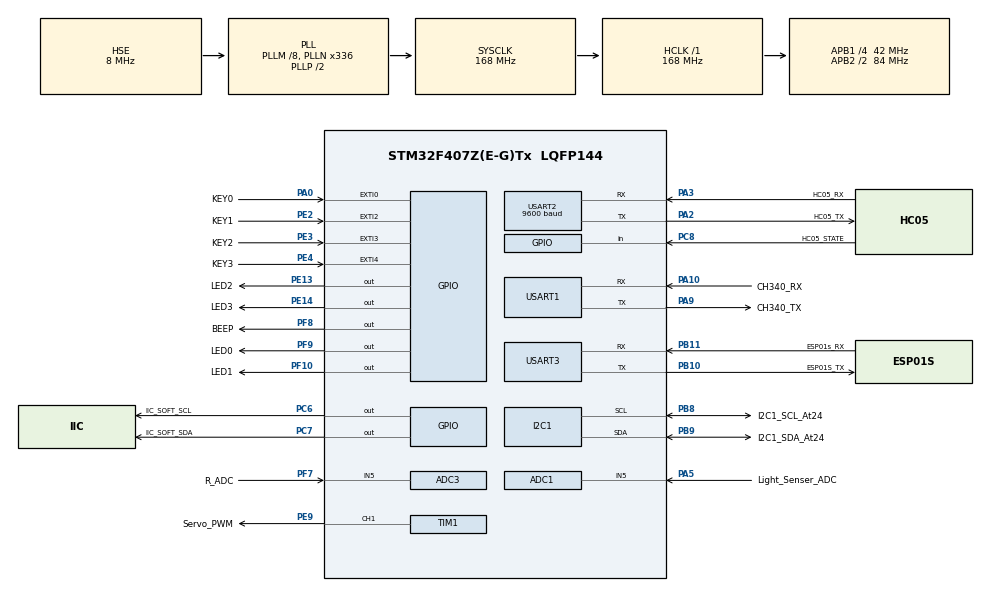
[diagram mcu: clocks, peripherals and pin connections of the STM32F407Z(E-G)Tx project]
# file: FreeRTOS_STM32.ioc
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ADC1.Channel-0\#ChannelRegularConversion=ADC_CHANNEL_5
ADC1.ClockPrescaler=ADC_CLOCK_SYNC_PCLK_DIV6
ADC1.ContinuousConvMode=ENABLE
ADC1.NbrOfConversionFlag=1
ADC1.Rank-0\#ChannelRegularConversion=1
ADC1.SamplingTime-0\#ChannelRegularConversion=ADC_SAMPLETIME_3CYCLES
ADC1.master=1
ADC3.Channel-0\#ChannelRegularConversion=ADC_CHANNEL_5
ADC3.ClockPrescaler=ADC_CLOCK_SYNC_PCLK_DIV6
ADC3.ContinuousConvMode=ENABLE
ADC3.NbrOfConversionFlag=1
ADC3.Rank-0\#ChannelRegularConversion=1
ADC3.SamplingTime-0\#ChannelRegularConversion=ADC_SAMPLETIME_3CYCLES
FREERTOS.Events01=KeyEventFlags,Dynamic,NULL;NetEventFlags,Dynamic,NULL
FREERTOS.Mutexes01=StateMutex,Dynamic,NULL,Available;DebugMutex,Dynamic,NULL,Available
FREERTOS.Queues01=CloudRxQueue,4,128,1,Dynamic,NULL,NULL;CloudTxQueue,2,128,1,Dynamic,NULL,NULL;BtRxQueue,2,128,1,Dynamic,NULL,NULL;BtTxQueue,4,64,1,Dynamic,NULL,NULL;WifiCfgQueue,1,64,1,Dynamic,NULL,NULL
FREERTOS.Tasks01=defaultTask,24,128,StartDefaultTask,Default,NULL,Dynamic,NULL,NULL;NetWorkTask,24,512,NetWorkTask_Function,Default,NULL,Dynamic,NULL,NULL;HeartBeatTask,24,128,HeartBeatTask_Function,Default,NULL,Dynamic,NULL,NULL;BluetoothTask,24,128,BluetoothTask_Function,Default,NULL,Dynamic,NULL,NULL;UITask,24,128,UITask_Function,Default,NULL,Dynamic,NULL,NULL;KeyHandleTask,24,128,KeyHandleTask_Function,Default,NULL,Dynamic,NULL,NULL;ADCHandleTask,24,256,ADCHandleTask_Function,Default,NULL,Dynamic,NULL,NULL;ServoHandleTask,24,128,ServoHandleTask_Function,Default,NULL,Dynamic,NULL,NULL;HandleBtMsgTask,24,128,HandleBtMsgTask_Function,Default,NULL,Dynamic,NULL,NULL;HandleCloudMsgT,24,128,HandleCloudMsgTask_Function,Default,NULL,Dynamic,NULL,NULL
FREERTOS.configTOTAL_HEAP_SIZE=24576
Mcu.Family=STM32F4
Mcu.Name=STM32F407Z(E-G)Tx
Mcu.Package=LQFP144
NVIC.ADC_IRQn=true\:5\:0\:false\:false\:true\:true\:true\:true\:true
NVIC.EXTI0_IRQn=true\:5\:0\:false\:false\:true\:true\:true\:true\:true
NVIC.EXTI2_IRQn=true\:5\:0\:false\:false\:true\:true\:true\:true\:true
NVIC.EXTI3_IRQn=true\:5\:0\:false\:false\:true\:true\:true\:true\:true
NVIC.EXTI4_IRQn=true\:5\:0\:false\:false\:true\:true\:true\:true\:true
NVIC.I2C1_ER_IRQn=true\:5\:0\:false\:false\:true\:true\:true\:true\:true
NVIC.I2C1_EV_IRQn=true\:5\:0\:false\:false\:true\:true\:true\:true\:true
NVIC.PriorityGroup=NVIC_PRIORITYGROUP_4
NVIC.TIM2_IRQn=true\:5\:0\:false\:false\:true\:true\:true\:true\:true
NVIC.TIM6_DAC_IRQn=true\:5\:0\:false\:false\:true\:true\:true\:true\:true
NVIC.TIM7_IRQn=true\:5\:0\:false\:false\:true\:true\:true\:true\:true
NVIC.USART1_IRQn=true\:5\:0\:false\:false\:true\:true\:true\:true\:true
NVIC.USART2_IRQn=true\:5\:0\:false\:false\:true\:true\:true\:true\:true
NVIC.USART3_IRQn=true\:5\:0\:false\:false\:true\:true\:true\:true\:true
PA0-WKUP.GPIO_Label=KEY0
PA0-WKUP.GPIO_ModeDefaultEXTI=GPIO_MODE_IT_FALLING
PA0-WKUP.GPIO_PuPd=GPIO_PULLUP
PA0-WKUP.Signal=GPXTI0
PA10.GPIO_Label=CH340_RX
PA10.Mode=Asynchronous
PA10.Signal=USART1_RX
PA2.GPIO_Label=HC05_TX
PA2.Mode=Asynchronous
PA2.Signal=USART2_TX
PA3.GPIO_Label=HC05_RX
PA3.Mode=Asynchronous
PA3.Signal=USART2_RX
PA5.GPIO_Label=Light_Senser_ADC
PA5.Signal=ADCx_IN5
PA9.GPIO_Label=CH340_TX
PA9.Mode=Asynchronous
PA9.Signal=USART1_TX
PB10.GPIO_Label=ESP01S_TX
PB10.Mode=Asynchronous
PB10.Signal=USART3_TX
PB11.GPIO_Label=ESP01s_RX
PB11.Mode=Asynchronous
PB11.Signal=USART3_RX
PB8.GPIO_Label=I2C1_SCL_At24
PB8.Mode=I2C
PB8.Signal=I2C1_SCL
PB9.GPIO_Label=I2C1_SDA_At24
PB9.Mode=I2C
PB9.Signal=I2C1_SDA
PC6.GPIO_Label=IIC_SOFT_SCL
PC6.GPIO_ModeDefaultOutputPP=GPIO_MODE_OUTPUT_OD
PC6.GPIO_PuPd=GPIO_PULLUP
PC6.GPIO_Speed=GPIO_SPEED_FREQ_HIGH
PC6.PinState=GPIO_PIN_SET
PC6.Signal=GPIO_Output
PC7.GPIO_Label=IIC_SOFT_SDA
PC7.GPIO_ModeDefaultOutputPP=GPIO_MODE_OUTPUT_OD
PC7.GPIO_PuPd=GPIO_PULLUP
PC7.GPIO_Speed=GPIO_SPEED_FREQ_HIGH
PC7.PinState=GPIO_PIN_SET
PC7.Signal=GPIO_Output
PC8.GPIO_Label=HC05_STATE
PC8.Signal=GPIO_Input
PE13.GPIO_Label=LED2
PE13.GPIO_PuPd=GPIO_PULLUP
PE13.GPIO_Speed=GPIO_SPEED_FREQ_HIGH
PE13.PinState=GPIO_PIN_SET
PE13.Signal=GPIO_Output
PE14.GPIO_Label=LED3
PE14.GPIO_PuPd=GPIO_PULLUP
PE14.GPIO_Speed=GPIO_SPEED_FREQ_HIGH
PE14.PinState=GPIO_PIN_SET
PE14.Signal=GPIO_Output
PE2.GPIO_Label=KEY1
PE2.GPIO_ModeDefaultEXTI=GPIO_MODE_IT_FALLING
PE2.GPIO_PuPd=GPIO_PULLUP
PE2.Signal=GPXTI2
PE3.GPIO_Label=KEY2
PE3.GPIO_ModeDefaultEXTI=GPIO_MODE_IT_FALLING
PE3.GPIO_PuPd=GPIO_PULLUP
PE3.Signal=GPXTI3
PE4.GPIO_Label=KEY3
PE4.GPIO_ModeDefaultEXTI=GPIO_MODE_IT_FALLING
PE4.GPIO_PuPd=GPIO_PULLUP
PE4.Signal=GPXTI4
PE9.GPIO_Label=Servo_PWM
PE9.Signal=S_TIM1_CH1
PF10.GPIO_Label=LED1
PF10.GPIO_PuPd=GPIO_PULLUP
PF10.GPIO_Speed=GPIO_SPEED_FREQ_HIGH
PF10.PinState=GPIO_PIN_SET
PF10.Signal=GPIO_Output
PF7.GPIO_Label=R_ADC
PF7.Mode=IN5
PF7.Signal=ADC3_IN5
PF8.GPIO_Label=BEEP
PF8.GPIO_PuPd=GPIO_NOPULL
PF8.GPIO_Speed=GPIO_SPEED_FREQ_HIGH
PF8.PinState=GPIO_PIN_RESET
PF8.Signal=GPIO_Output
PF9.GPIO_Label=LED0
PF9.GPIO_PuPd=GPIO_PULLUP
PF9.GPIO_Speed=GPIO_SPEED_FREQ_HIGH
PF9.PinState=GPIO_PIN_SET
PF9.Signal=GPIO_Output
PH0-OSC_IN.Mode=HSE-External-Oscillator
PH0-OSC_IN.Signal=RCC_OSC_IN
PH1-OSC_OUT.Mode=HSE-External-Oscillator
PH1-OSC_OUT.Signal=RCC_OSC_OUT
ProjectManager.HeapSize=0x200
ProjectManager.StackSize=0x400
ProjectManager.TargetToolchain=MDK-ARM V5
RCC.48MHZClocksFreq_Value=84000000
RCC.AHBFreq_Value=168000000
RCC.APB1CLKDivider=RCC_HCLK_DIV4
RCC.APB1Freq_Value=42000000
RCC.APB1TimFreq_Value=84000000
RCC.APB2CLKDivider=RCC_HCLK_DIV2
RCC.APB2Freq_Value=84000000
RCC.APB2TimFreq_Value=168000000
RCC.CortexFreq_Value=168000000
RCC.HCLKFreq_Value=168000000
RCC.HSE_VALUE=8000000
RCC.HSI_VALUE=16000000
RCC.LSE_VALUE=32768
RCC.PLLM=8
RCC.PLLN=336
RCC.PLLSourceVirtual=RCC_PLLSOURCE_HSE
RCC.SYSCLKFreq_VALUE=168000000
RCC.SYSCLKSource=RCC_SYSCLKSOURCE_PLLCLK
RCC.VCOOutputFreq_Value=336000000
SH.ADCx_IN5.0=ADC1_IN5,IN5
SH.S_TIM1_CH1.0=TIM1_CH1,PWM Generation1 CH1
TIM1.Channel-PWM\ Generation1\ CH1=TIM_CHANNEL_1
TIM1.Period=19999
TIM1.Prescaler=167
TIM2.Period=299999
TIM2.Prescaler=8399
TIM6.Period=4999
TIM6.Prescaler=8399
TIM7.Period=49
TIM7.Prescaler=8399
USART1.VirtualMode=VM_ASYNC
USART2.BaudRate=9600
USART2.VirtualMode=VM_ASYNC
USART3.VirtualMode=VM_ASYNC
VP_FREERTOS_VS_CMSIS_V2.Mode=CMSIS_V2
VP_TIM1_VS_ClockSourceINT.Mode=Internal
VP_TIM2_VS_ClockSourceINT.Mode=Internal
VP_TIM6_VS_ClockSourceINT.Mode=Enable_Timer
VP_TIM7_VS_ClockSourceINT.Mode=Enable_Timer
board=custom

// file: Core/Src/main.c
/* USER CODE BEGIN Header */
/**
 ******************************************************************************
 * @file           : main.c
 * @brief          : Main program body
 ******************************************************************************
 * @attention
 *
 * Copyright (c) 2026 STMicroelectronics.
 * All rights reserved.
 *
 * This software is licensed under terms that can be found in the LICENSE file
 * in the root directory of this software component.
 * If no LICENSE file comes with this software, it is provided AS-IS.
 *
 ******************************************************************************
 */
/* USER CODE END Header */
#include "main.h"
#include "cmsis_os.h"

/* USER CODE BEGIN Includes */
/* ==========================自定义用户头文件================================= */
#include "LED.h"
#include "BEEP.h"
#include "KEY.h"
#include "SERVO.h"
#include "ADC_Read.h"
#include "HC05.h"
#include "ESP01S.h"
#include "BEMFA.h"
#include "CloudCmd.h"
#include "BtConfig.h"
#include "at24c02.h"
#include "WifiStorage.h"
#include "Oled.h"
#include "bmp.h"
#include "oledfonts.h"
#include "stm32f4xx_it.h"
#include "UI_Preview.h"
#include "UI_Terminal.h"

/* ==========================系统头文件======================================= */
#include <stdio.h>
#include <string.h>
#include <stdlib.h>
/* USER CODE END Includes */

/* USER CODE BEGIN PTD */
/**
 * @brief Wi-Fi 配置队列项
 * @note  CubeMX 中 WifiCfgQueue 的单个消息大小配置为 64 字节。
 *        BtConfig_Data 本身不足 64 字节，这里补齐到 64 字节，
 *        方便队列按固定长度复制。
 */
typedef struct
{
  BtConfig_Data data;
  uint8_t reserved[6];
} WifiCfgQueueItem;
/* USER CODE END PTD */

/* USER CODE BEGIN PD */
/* ADC 数值变化超过该阈值才打印，避免串口被刷屏。 */
#define ADC_PRINT_CHANGE_THRESHOLD 100U

/* 网络事件标志位：HeartBeatTask 每 30 秒置位一次。 */
#define NET_EVT_HEARTBEAT (1U << 0)

/* 按键事件标志位：由 EXTI 中断置位，KeyHandleTask 处理。 */
#define KEY_EVT_KEY0 (1U << 0)
#define KEY_EVT_KEY1 (1U << 1)
#define KEY_EVT_KEY2 (1U << 2)
#define KEY_EVT_KEY3 (1U << 3)

/* USER CODE END PD */

ADC_HandleTypeDef hadc1;
ADC_HandleTypeDef hadc3;

I2C_HandleTypeDef hi2c1;

TIM_HandleTypeDef htim1;
TIM_HandleTypeDef htim2;
TIM_HandleTypeDef htim6;
TIM_HandleTypeDef htim7;

UART_HandleTypeDef huart1;
UART_HandleTypeDef huart2;
UART_HandleTypeDef huart3;

/* Definitions for defaultTask */
osThreadId_t defaultTaskHandle;
const osThreadAttr_t defaultTask_attributes = {
    .name = "defaultTask",
    .stack_size = 128 * 4,
    .priority = (osPriority_t)osPriorityNormal,
};
/* Definitions for NetWorkTask */
osThreadId_t NetWorkTaskHandle;
const osThreadAttr_t NetWorkTask_attributes = {
    .name = "NetWorkTask",
    .stack_size = 512 * 4,
    .priority = (osPriority_t)osPriorityNormal,
};
/* Definitions for HeartBeatTask */
osThreadId_t HeartBeatTaskHandle;
const osThreadAttr_t HeartBeatTask_attributes = {
    .name = "HeartBeatTask",
    .stack_size = 128 * 4,
    .priority = (osPriority_t)osPriorityNormal,
};
/* Definitions for BluetoothTask */
osThreadId_t BluetoothTaskHandle;
const osThreadAttr_t BluetoothTask_attributes = {
    .name = "BluetoothTask",
    .stack_size = 128 * 4,
    .priority = (osPriority_t)osPriorityNormal,
};
/* Definitions for UITask */
osThreadId_t UITaskHandle;
const osThreadAttr_t UITask_attributes = {
    .name = "UITask",
    .stack_size = 128 * 4,
    .priority = (osPriority_t)osPriorityNormal,
};
/* Definitions for KeyHandleTask */
osThreadId_t KeyHandleTaskHandle;
const osThreadAttr_t KeyHandleTask_attributes = {
    .name = "KeyHandleTask",
    .stack_size = 128 * 4,
    .priority = (osPriority_t)osPriorityNormal,
};
/* Definitions for ADCHandleTask */
osThreadId_t ADCHandleTaskHandle;
const osThreadAttr_t ADCHandleTask_attributes = {
    .name = "ADCHandleTask",
    .stack_size = 256 * 4,
    .priority = (osPriority_t)osPriorityNormal,
};
/* Definitions for ServoHandleTask */
osThreadId_t ServoHandleTaskHandle;
const osThreadAttr_t ServoHandleTask_attributes = {
    .name = "ServoHandleTask",
    .stack_size = 128 * 4,
    .priority = (osPriority_t)osPriorityNormal,
};
/* Definitions for HandleBtMsgTask */
osThreadId_t HandleBtMsgTaskHandle;
const osThreadAttr_t HandleBtMsgTask_attributes = {
    .name = "HandleBtMsgTask",
    .stack_size = 128 * 4,
    .priority = (osPriority_t)osPriorityNormal,
};
/* Definitions for HandleCloudMsgT */
osThreadId_t HandleCloudMsgTHandle;
const osThreadAttr_t HandleCloudMsgT_attributes = {
    .name = "HandleCloudMsgT",
    .stack_size = 128 * 4,
    .priority = (osPriority_t)osPriorityNormal,
};
/* Definitions for CloudRxQueue */
osMessageQueueId_t CloudRxQueueHandle;
const osMessageQueueAttr_t CloudRxQueue_attributes = {
    .name = "CloudRxQueue"};
/* Definitions for CloudTxQueue */
osMessageQueueId_t CloudTxQueueHandle;
const osMessageQueueAttr_t CloudTxQueue_attributes = {
    .name = "CloudTxQueue"};
/* Definitions for BtRxQueue */
osMessageQueueId_t BtRxQueueHandle;
const osMessageQueueAttr_t BtRxQueue_attributes = {
    .name = "BtRxQueue"};
/* Definitions for BtTxQueue */
osMessageQueueId_t BtTxQueueHandle;
const osMessageQueueAttr_t BtTxQueue_attributes = {
    .name = "BtTxQueue"};
/* Definitions for WifiCfgQueue */
osMessageQueueId_t WifiCfgQueueHandle;
const osMessageQueueAttr_t WifiCfgQueue_attributes = {
    .name = "WifiCfgQueue"};
/* Definitions for StateMutex */
osMutexId_t StateMutexHandle;
const osMutexAttr_t StateMutex_attributes = {
    .name = "StateMutex"};
/* Definitions for DebugMutex */
osMutexId_t DebugMutexHandle;
const osMutexAttr_t DebugMutex_attributes = {
    .name = "DebugMutex"};
/* Definitions for KeyEventFlags */
osEventFlagsId_t KeyEventFlagsHandle;
const osEventFlagsAttr_t KeyEventFlags_attributes = {
    .name = "KeyEventFlags"};
/* Definitions for NetEventFlags */
osEventFlagsId_t NetEventFlagsHandle;
const osEventFlagsAttr_t NetEventFlags_attributes = {
    .name = "NetEventFlags"};
/* USER CODE BEGIN PV */
uint8_t cloud_armed = 0;                      // 布防状态标志：1=已布防，0=已撤防
uint8_t local_alarm = 0;                      // 本地报警状态：1=报警中，0=无报警
uint8_t alarm_muted = 0;                      // 报警消音标志：1=已消音，0=未消音
uint8_t led1_on = 0;                          // LED1开关状态：1=开，0=关
uint8_t beep_on = 0;                          // 蜂鸣器开关状态：1=开，0=关
uint16_t light_value = 0;                     // 光敏传感器ADC读数（值越大光线越暗）
uint16_t reference_value = 0;                 // 阈值电位器ADC读数（与光敏值比较触发报警）
uint16_t last_print_light_value = 0;          // 上一次打印的光敏值
uint16_t last_print_reference_value = 0;      // 上一次打印的阈值值
uint8_t adc_print_first_time = 1;             // 1表示还没有打印过ADC值
uint8_t adc_value_changed = 0;                // 1表示本次ADC值需要打印
BtConfig_Data wifi_config;                    // 用于存储 Wi-Fi 配置
char ack_message[BEMFA_MESSAGE_MAX_LENGTH];   // 用于拼装云端控制回执
uint8_t wifi_config_pending = 0;              // 1表示正在等待 ESP-01S 配置 Wi-Fi
uint8_t wifi_result;                          // 用于存储 ESP-01S 配置结果
uint8_t ui_terminal_mode = 0;                 // OLED 界面模式：0=前台表情，1=后台终端

/* USER CODE END PV */

void SystemClock_Config(void);
static void MX_GPIO_Init(void);
static void MX_ADC1_Init(void);
static void MX_ADC3_Init(void);
static void MX_TIM1_Init(void);
static void MX_USART1_UART_Init(void);
static void MX_USART2_UART_Init(void);
static void MX_USART3_UART_Init(void);
static void MX_I2C1_Init(void);
static void MX_TIM2_Init(void);
static void MX_TIM6_Init(void);
static void MX_TIM7_Init(void);
void StartDefaultTask(void *argument);
void NetWorkTask_Function(void *argument);
void HeartBeatTask_Function(void *argument);
void BluetoothTask_Function(void *argument);
void UITask_Function(void *argument);
void KeyHandleTask_Function(void *argument);
void ADCHandleTask_Function(void *argument);
void ServoHandleTask_Function(void *argument);
void HandleBtMsgTask_Function(void *argument);
void HandleCloudMsgTask_Function(void *argument);

/* USER CODE BEGIN 0 */
int fputc(int ch, FILE *f)
{
  uint8_t mutex_locked = 0;

  (void)f;

  /*
   * 系统启动阶段 FreeRTOS 还没有运行，
   * 此时不能使用互斥量。
   */
  if ((DebugMutexHandle != NULL) &&
      (osKernelGetState() == osKernelRunning))
  {
    if (osMutexAcquire(DebugMutexHandle, osWaitForever) == osOK)
    {
      mutex_locked = 1;
    }
  }

  /* 串口1作为调试输出口，多个任务打印时使用 DebugMutex 串行化。 */
  HAL_UART_Transmit(&huart1, (uint8_t *)&ch, 1, HAL_MAX_DELAY);

  /* 同步到 OLED 后台终端缓存；真正绘制由 UITask 完成。 */
  UI_Terminal_PutChar((char)ch);

  if (mutex_locked)
  {
    osMutexRelease(DebugMutexHandle);
  }

  return ch;
}
/*
 * 云端控制回执：只把回执放入 CloudTxQueue。
 * 真正的巴法云发送统一由 NetWorkTask 完成，避免多个任务同时操作 BEMFA。
 */
static void CloudAck(const char *msg)
{
  char tx_msg[BEMFA_MESSAGE_MAX_LENGTH];

  if (msg == NULL)
  {
    return;
  }

  snprintf(tx_msg, sizeof(tx_msg), "%s", msg);

  if (osMessageQueuePut(CloudTxQueueHandle, tx_msg, 0, 0) == osOK)
  {
    printf("回执已进入发送队列: %s\r\n", tx_msg);
  }
  else
  {
    printf("回执队列已满，丢弃: %s\r\n", tx_msg);
  }
}

/*
 * 蓝牙回复统一进入 BtTxQueue。
 * 真正发送由 BluetoothTask 完成，避免多个任务同时操作 HC-05。
 */
static void BtReply(const char *msg)
{
  char tx_msg[64];

  if (msg == NULL)
  {
    return;
  }

  snprintf(tx_msg, sizeof(tx_msg), "%s", msg);

  if (osMessageQueuePut(BtTxQueueHandle, tx_msg, 0, 0) != osOK)
  {
    printf("蓝牙发送队列已满，丢弃: %s\r\n", tx_msg);
  }
}

/* USER CODE END 0 */

int main(void)
{

  /* MCU Configuration--------------------------------------------------------*/

  /* Reset of all peripherals, Initializes the Flash interface and the Systick. */
  HAL_Init();

  /* Configure the system clock */
  SystemClock_Config();

  /* Initialize all configured peripherals */
  MX_GPIO_Init();
  MX_ADC1_Init();
  MX_ADC3_Init();
  MX_TIM1_Init();
  MX_USART1_UART_Init();
  MX_USART2_UART_Init();
  MX_USART3_UART_Init();
  MX_I2C1_Init();
  MX_TIM2_Init();
  MX_TIM6_Init();
  MX_TIM7_Init();
  /* USER CODE BEGIN 2 */
  /* ===========================================用户初始化============================================= */
  IIC_OLED_Init();

  /* 界面默认进入前台表情模式，KEY3 可切换到后台终端 */
  ui_terminal_mode = 0;
  UI_Preview_Init();
  /* 关闭蜂鸣器，熄灭所有 LED */
  BEEP_Off();

  LED_Off(LED_ID_0);
  LED_Off(LED_ID_1);
  LED_Off(LED_ID_2);
  LED_Off(LED_ID_3);

  /* 启动舵机 PWM，初始为撤防模式（0 度） */
  SERVO_Start();
  SERVO_SetMode(SERVO_MODE_DISARM);

  printf("Basic driver test start\r\n");
  HC05_StartReceive();   // 启动 HC-05 串口接收
  ESP01S_StartReceive(); // 启动 ESP-01S 串口接收
  // HAL_TIM_Base_Start_IT(&htim2); // 启动30秒定时器中断
  // HAL_TIM_Base_Start_IT(&htim6); // 启动0.5秒定时器中断
  // HAL_TIM_Base_Start_IT(&htim7); // 启动5毫秒定时器中断（系统节拍）

  /* 上电时先尝试读取上一次保存的 Wi-Fi 配置。 */
  if (at24c02_init() == 0)
  {
    if (WifiStorage_Load(&wifi_config))
    {
      printf("读取到已保存的 Wi-Fi 配置：%s\r\n", wifi_config.ssid);
      ESP01S_RequestWiFi(wifi_config.ssid, wifi_config.password);
    }
    else
    {
      printf("AT24C02 中没有有效的 Wi-Fi 配置\r\n");
    }
  }
  else
  {
    printf("AT24C02 未检测到，等待蓝牙配网\r\n");
  }

  /* USER CODE END 2 */

  /* Init scheduler */
  osKernelInitialize();
  /* Create the mutex(es) */
  /* creation of StateMutex */
  StateMutexHandle = osMutexNew(&StateMutex_attributes);

  /* creation of DebugMutex */
  DebugMutexHandle = osMutexNew(&DebugMutex_attributes);

  /* Create the queue(s) */
  /* creation of CloudRxQueue */
  CloudRxQueueHandle = osMessageQueueNew(4, 128, &CloudRxQueue_attributes);

  /* creation of CloudTxQueue */
  CloudTxQueueHandle = osMessageQueueNew(2, 128, &CloudTxQueue_attributes);

  /* creation of BtRxQueue */
  BtRxQueueHandle = osMessageQueueNew(2, 128, &BtRxQueue_attributes);

  /* creation of BtTxQueue */
  BtTxQueueHandle = osMessageQueueNew(4, 64, &BtTxQueue_attributes);

  /* creation of WifiCfgQueue */
  WifiCfgQueueHandle = osMessageQueueNew(1, 64, &WifiCfgQueue_attributes);

  /* Create the thread(s) */
  /* creation of defaultTask */
  /* defaultTask 当前没有业务，保留函数模板但不再创建任务。 */
  // defaultTaskHandle = osThreadNew(StartDefaultTask, NULL, &defaultTask_attributes);

  /* creation of NetWorkTask */
  NetWorkTaskHandle = osThreadNew(NetWorkTask_Function, NULL, &NetWorkTask_attributes);

  /* creation of HeartBeatTask */
  HeartBeatTaskHandle = osThreadNew(HeartBeatTask_Function, NULL, &HeartBeatTask_attributes);

  /* creation of BluetoothTask */
  BluetoothTaskHandle = osThreadNew(BluetoothTask_Function, NULL, &BluetoothTask_attributes);

  /* creation of UITask */
  UITaskHandle = osThreadNew(UITask_Function, NULL, &UITask_attributes);

  /* creation of KeyHandleTask */
  KeyHandleTaskHandle = osThreadNew(KeyHandleTask_Function, NULL, &KeyHandleTask_attributes);

  /* creation of ADCHandleTask */
  ADCHandleTaskHandle = osThreadNew(ADCHandleTask_Function, NULL, &ADCHandleTask_attributes);

  /* creation of ServoHandleTask */
  ServoHandleTaskHandle = osThreadNew(ServoHandleTask_Function, NULL, &ServoHandleTask_attributes);

  /* creation of HandleBtMsgTask */
  HandleBtMsgTaskHandle = osThreadNew(HandleBtMsgTask_Function, NULL, &HandleBtMsgTask_attributes);

  /* creation of HandleCloudMsgT */
  HandleCloudMsgTHandle = osThreadNew(HandleCloudMsgTask_Function, NULL, &HandleCloudMsgT_attributes);

  /* creation of KeyEventFlags */
  KeyEventFlagsHandle = osEventFlagsNew(&KeyEventFlags_attributes);

  /* creation of NetEventFlags */
  NetEventFlagsHandle = osEventFlagsNew(&NetEventFlags_attributes);

  /* Start scheduler */
  osKernelStart();

  /* We should never get here as control is now taken by the scheduler */

  /* Infinite loop */
  /* USER CODE BEGIN WHILE */

  /*   while (1)
    {
    } */
  /* USER CODE END 3 */
}
void SystemClock_Config(void)
{
  RCC_OscInitTypeDef RCC_OscInitStruct = {0};
  RCC_ClkInitTypeDef RCC_ClkInitStruct = {0};

  /** Configure the main internal regulator output voltage
   */
  __HAL_RCC_PWR_CLK_ENABLE();
  __HAL_PWR_VOLTAGESCALING_CONFIG(PWR_REGULATOR_VOLTAGE_SCALE1);

  /** Initializes the RCC Oscillators according to the specified parameters
   * in the RCC_OscInitTypeDef structure.
   */
  RCC_OscInitStruct.OscillatorType = RCC_OSCILLATORTYPE_HSE;
  RCC_OscInitStruct.HSEState = RCC_HSE_ON;
  RCC_OscInitStruct.PLL.PLLState = RCC_PLL_ON;
  RCC_OscInitStruct.PLL.PLLSource = RCC_PLLSOURCE_HSE;
  RCC_OscInitStruct.PLL.PLLM = 8;
  RCC_OscInitStruct.PLL.PLLN = 336;
  RCC_OscInitStruct.PLL.PLLP = RCC_PLLP_DIV2;
  RCC_OscInitStruct.PLL.PLLQ = 4;
  if (HAL_RCC_OscConfig(&RCC_OscInitStruct) != HAL_OK)
  {
    Error_Handler();
  }

  /** Initializes the CPU, AHB and APB buses clocks
   */
  RCC_ClkInitStruct.ClockType = RCC_CLOCKTYPE_HCLK | RCC_CLOCKTYPE_SYSCLK | RCC_CLOCKTYPE_PCLK1 | RCC_CLOCKTYPE_PCLK2;
  RCC_ClkInitStruct.SYSCLKSource = RCC_SYSCLKSOURCE_PLLCLK;
  RCC_ClkInitStruct.AHBCLKDivider = RCC_SYSCLK_DIV1;
  RCC_ClkInitStruct.APB1CLKDivider = RCC_HCLK_DIV4;
  RCC_ClkInitStruct.APB2CLKDivider = RCC_HCLK_DIV2;

  if (HAL_RCC_ClockConfig(&RCC_ClkInitStruct, FLASH_LATENCY_5) != HAL_OK)
  {
    Error_Handler();
  }
}

static void MX_ADC1_Init(void)
{

  ADC_ChannelConfTypeDef sConfig = {0};

  /** Configure the global features of the ADC (Clock, Resolution, Data Alignment and number of conversion)
   */
  hadc1.Instance = ADC1;
  hadc1.Init.ClockPrescaler = ADC_CLOCK_SYNC_PCLK_DIV6;
  hadc1.Init.Resolution = ADC_RESOLUTION_12B;
  hadc1.Init.ScanConvMode = DISABLE;
  hadc1.Init.ContinuousConvMode = ENABLE;
  hadc1.Init.DiscontinuousConvMode = DISABLE;
  hadc1.Init.ExternalTrigConvEdge = ADC_EXTERNALTRIGCONVEDGE_NONE;
  hadc1.Init.ExternalTrigConv = ADC_SOFTWARE_START;
  hadc1.Init.DataAlign = ADC_DATAALIGN_RIGHT;
  hadc1.Init.NbrOfConversion = 1;
  hadc1.Init.DMAContinuousRequests = DISABLE;
  hadc1.Init.EOCSelection = ADC_EOC_SINGLE_CONV;
  if (HAL_ADC_Init(&hadc1) != HAL_OK)
  {
    Error_Handler();
  }

  /** Configure for the selected ADC regular channel its corresponding rank in the sequencer and its sample time.
   */
  sConfig.Channel = ADC_CHANNEL_5;
  sConfig.Rank = 1;
  sConfig.SamplingTime = ADC_SAMPLETIME_3CYCLES;
  if (HAL_ADC_ConfigChannel(&hadc1, &sConfig) != HAL_OK)
  {
    Error_Handler();
  }
}

static void MX_ADC3_Init(void)
{

  ADC_ChannelConfTypeDef sConfig = {0};

  /** Configure the global features of the ADC (Clock, Resolution, Data Alignment and number of conversion)
   */
  hadc3.Instance = ADC3;
  hadc3.Init.ClockPrescaler = ADC_CLOCK_SYNC_PCLK_DIV6;
  hadc3.Init.Resolution = ADC_RESOLUTION_12B;
  hadc3.Init.ScanConvMode = DISABLE;
  hadc3.Init.ContinuousConvMode = ENABLE;
  hadc3.Init.DiscontinuousConvMode = DISABLE;
  hadc3.Init.ExternalTrigConvEdge = ADC_EXTERNALTRIGCONVEDGE_NONE;
  hadc3.Init.ExternalTrigConv = ADC_SOFTWARE_START;
  hadc3.Init.DataAlign = ADC_DATAALIGN_RIGHT;
  hadc3.Init.NbrOfConversion = 1;
  hadc3.Init.DMAContinuousRequests = DISABLE;
  hadc3.Init.EOCSelection = ADC_EOC_SINGLE_CONV;
  if (HAL_ADC_Init(&hadc3) != HAL_OK)
  {
    Error_Handler();
  }

  /** Configure for the selected ADC regular channel its corresponding rank in the sequencer and its sample time.
   */
  sConfig.Channel = ADC_CHANNEL_5;
  sConfig.Rank = 1;
  sConfig.SamplingTime = ADC_SAMPLETIME_3CYCLES;
  if (HAL_ADC_ConfigChannel(&hadc3, &sConfig) != HAL_OK)
  {
    Error_Handler();
  }
}

static void MX_I2C1_Init(void)
{

  hi2c1.Instance = I2C1;
  hi2c1.Init.ClockSpeed = 100000;
  hi2c1.Init.DutyCycle = I2C_DUTYCYCLE_2;
  hi2c1.Init.OwnAddress1 = 0;
  hi2c1.Init.AddressingMode = I2C_ADDRESSINGMODE_7BIT;
  hi2c1.Init.DualAddressMode = I2C_DUALADDRESS_DISABLE;
  hi2c1.Init.OwnAddress2 = 0;
  hi2c1.Init.GeneralCallMode = I2C_GENERALCALL_DISABLE;
  hi2c1.Init.NoStretchMode = I2C_NOSTRETCH_DISABLE;
  if (HAL_I2C_Init(&hi2c1) != HAL_OK)
  {
    Error_Handler();
  }
}

static void MX_TIM1_Init(void)
{

  TIM_ClockConfigTypeDef sClockSourceConfig = {0};
  TIM_MasterConfigTypeDef sMasterConfig = {0};
  TIM_OC_InitTypeDef sConfigOC = {0};
  TIM_BreakDeadTimeConfigTypeDef sBreakDeadTimeConfig = {0};

  htim1.Instance = TIM1;
  htim1.Init.Prescaler = 167;
  htim1.Init.CounterMode = TIM_COUNTERMODE_UP;
  htim1.Init.Period = 19999;
  htim1.Init.ClockDivision = TIM_CLOCKDIVISION_DIV1;
  htim1.Init.RepetitionCounter = 0;
  htim1.Init.AutoReloadPreload = TIM_AUTORELOAD_PRELOAD_DISABLE;
  if (HAL_TIM_Base_Init(&htim1) != HAL_OK)
  {
    Error_Handler();
  }
  sClockSourceConfig.ClockSource = TIM_CLOCKSOURCE_INTERNAL;
  if (HAL_TIM_ConfigClockSource(&htim1, &sClockSourceConfig) != HAL_OK)
  {
    Error_Handler();
  }
  if (HAL_TIM_PWM_Init(&htim1) != HAL_OK)
  {
    Error_Handler();
  }
  sMasterConfig.MasterOutputTrigger = TIM_TRGO_RESET;
  sMasterConfig.MasterSlaveMode = TIM_MASTERSLAVEMODE_DISABLE;
  if (HAL_TIMEx_MasterConfigSynchronization(&htim1, &sMasterConfig) != HAL_OK)
  {
    Error_Handler();
  }
  sConfigOC.OCMode = TIM_OCMODE_PWM1;
  sConfigOC.Pulse = 0;
  sConfigOC.OCPolarity = TIM_OCPOLARITY_HIGH;
  sConfigOC.OCNPolarity = TIM_OCNPOLARITY_HIGH;
  sConfigOC.OCFastMode = TIM_OCFAST_DISABLE;
  sConfigOC.OCIdleState = TIM_OCIDLESTATE_RESET;
  sConfigOC.OCNIdleState = TIM_OCNIDLESTATE_RESET;
  if (HAL_TIM_PWM_ConfigChannel(&htim1, &sConfigOC, TIM_CHANNEL_1) != HAL_OK)
  {
    Error_Handler();
  }
  sBreakDeadTimeConfig.OffStateRunMode = TIM_OSSR_DISABLE;
  sBreakDeadTimeConfig.OffStateIDLEMode = TIM_OSSI_DISABLE;
  sBreakDeadTimeConfig.LockLevel = TIM_LOCKLEVEL_OFF;
  sBreakDeadTimeConfig.DeadTime = 0;
  sBreakDeadTimeConfig.BreakState = TIM_BREAK_DISABLE;
  sBreakDeadTimeConfig.BreakPolarity = TIM_BREAKPOLARITY_HIGH;
  sBreakDeadTimeConfig.AutomaticOutput = TIM_AUTOMATICOUTPUT_DISABLE;
  if (HAL_TIMEx_ConfigBreakDeadTime(&htim1, &sBreakDeadTimeConfig) != HAL_OK)
  {
    Error_Handler();
  }
  HAL_TIM_MspPostInit(&htim1);
}

static void MX_TIM2_Init(void)
{

  TIM_ClockConfigTypeDef sClockSourceConfig = {0};
  TIM_MasterConfigTypeDef sMasterConfig = {0};

  htim2.Instance = TIM2;
  htim2.Init.Prescaler = 8399;
  htim2.Init.CounterMode = TIM_COUNTERMODE_UP;
  htim2.Init.Period = 299999;
  htim2.Init.ClockDivision = TIM_CLOCKDIVISION_DIV1;
  htim2.Init.AutoReloadPreload = TIM_AUTORELOAD_PRELOAD_DISABLE;
  if (HAL_TIM_Base_Init(&htim2) != HAL_OK)
  {
    Error_Handler();
  }
  sClockSourceConfig.ClockSource = TIM_CLOCKSOURCE_INTERNAL;
  if (HAL_TIM_ConfigClockSource(&htim2, &sClockSourceConfig) != HAL_OK)
  {
    Error_Handler();
  }
  sMasterConfig.MasterOutputTrigger = TIM_TRGO_RESET;
  sMasterConfig.MasterSlaveMode = TIM_MASTERSLAVEMODE_DISABLE;
  if (HAL_TIMEx_MasterConfigSynchronization(&htim2, &sMasterConfig) != HAL_OK)
  {
    Error_Handler();
  }
}

static void MX_TIM6_Init(void)
{

  TIM_MasterConfigTypeDef sMasterConfig = {0};

  htim6.Instance = TIM6;
  htim6.Init.Prescaler = 8399;
  htim6.Init.CounterMode = TIM_COUNTERMODE_UP;
  htim6.Init.Period = 4999;
  htim6.Init.AutoReloadPreload = TIM_AUTORELOAD_PRELOAD_DISABLE;
  if (HAL_TIM_Base_Init(&htim6) != HAL_OK)
  {
    Error_Handler();
  }
  sMasterConfig.MasterOutputTrigger = TIM_TRGO_RESET;
  sMasterConfig.MasterSlaveMode = TIM_MASTERSLAVEMODE_DISABLE;
  if (HAL_TIMEx_MasterConfigSynchronization(&htim6, &sMasterConfig) != HAL_OK)
  {
    Error_Handler();
  }
}

static void MX_TIM7_Init(void)
{

  TIM_MasterConfigTypeDef sMasterConfig = {0};

  htim7.Instance = TIM7;
  htim7.Init.Prescaler = 8399;
  htim7.Init.CounterMode = TIM_COUNTERMODE_UP;
  htim7.Init.Period = 49;
  htim7.Init.AutoReloadPreload = TIM_AUTORELOAD_PRELOAD_DISABLE;
  if (HAL_TIM_Base_Init(&htim7) != HAL_OK)
  {
    Error_Handler();
  }
  sMasterConfig.MasterOutputTrigger = TIM_TRGO_RESET;
  sMasterConfig.MasterSlaveMode = TIM_MASTERSLAVEMODE_DISABLE;
  if (HAL_TIMEx_MasterConfigSynchronization(&htim7, &sMasterConfig) != HAL_OK)
  {
    Error_Handler();
  }
}

static void MX_USART1_UART_Init(void)
{

  huart1.Instance = USART1;
  huart1.Init.BaudRate = 115200;
  huart1.Init.WordLength = UART_WORDLENGTH_8B;
  huart1.Init.StopBits = UART_STOPBITS_1;
  huart1.Init.Parity = UART_PARITY_NONE;
  huart1.Init.Mode = UART_MODE_TX_RX;
  huart1.Init.HwFlowCtl = UART_HWCONTROL_NONE;
  huart1.Init.OverSampling = UART_OVERSAMPLING_16;
  if (HAL_UART_Init(&huart1) != HAL_OK)
  {
    Error_Handler();
  }
}

static void MX_USART2_UART_Init(void)
{

  huart2.Instance = USART2;
  huart2.Init.BaudRate = 9600;
  huart2.Init.WordLength = UART_WORDLENGTH_8B;
  huart2.Init.StopBits = UART_STOPBITS_1;
  huart2.Init.Parity = UART_PARITY_NONE;
  huart2.Init.Mode = UART_MODE_TX_RX;
  huart2.Init.HwFlowCtl = UART_HWCONTROL_NONE;
  huart2.Init.OverSampling = UART_OVERSAMPLING_16;
  if (HAL_UART_Init(&huart2) != HAL_OK)
  {
    Error_Handler();
  }
}

static void MX_USART3_UART_Init(void)
{

  huart3.Instance = USART3;
  huart3.Init.BaudRate = 115200;
  huart3.Init.WordLength = UART_WORDLENGTH_8B;
  huart3.Init.StopBits = UART_STOPBITS_1;
  huart3.Init.Parity = UART_PARITY_NONE;
  huart3.Init.Mode = UART_MODE_TX_RX;
  huart3.Init.HwFlowCtl = UART_HWCONTROL_NONE;
  huart3.Init.OverSampling = UART_OVERSAMPLING_16;
  if (HAL_UART_Init(&huart3) != HAL_OK)
  {
    Error_Handler();
  }
}

static void MX_GPIO_Init(void)
{
  GPIO_InitTypeDef GPIO_InitStruct = {0};

  /* GPIO Ports Clock Enable */
  __HAL_RCC_GPIOE_CLK_ENABLE();
  __HAL_RCC_GPIOF_CLK_ENABLE();
  __HAL_RCC_GPIOH_CLK_ENABLE();
  __HAL_RCC_GPIOA_CLK_ENABLE();
  __HAL_RCC_GPIOB_CLK_ENABLE();
  __HAL_RCC_GPIOC_CLK_ENABLE();

  /*Configure GPIO pin Output Level */
  HAL_GPIO_WritePin(BEEP_GPIO_Port, BEEP_Pin, GPIO_PIN_RESET);

  /*Configure GPIO pin Output Level */
  HAL_GPIO_WritePin(GPIOF, LED0_Pin | LED1_Pin, GPIO_PIN_SET);

  /*Configure GPIO pin Output Level */
  HAL_GPIO_WritePin(GPIOE, LED2_Pin | LED3_Pin, GPIO_PIN_SET);

  /*Configure GPIO pin Output Level */
  HAL_GPIO_WritePin(GPIOC, IIC_SOFT_SCL_Pin | IIC_SOFT_SDA_Pin, GPIO_PIN_SET);

  /*Configure GPIO pins : KEY1_Pin KEY2_Pin KEY3_Pin */
  GPIO_InitStruct.Pin = KEY1_Pin | KEY2_Pin | KEY3_Pin;
  GPIO_InitStruct.Mode = GPIO_MODE_IT_FALLING;
  GPIO_InitStruct.Pull = GPIO_PULLUP;
  HAL_GPIO_Init(GPIOE, &GPIO_InitStruct);

  /*Configure GPIO pin : BEEP_Pin */
  GPIO_InitStruct.Pin = BEEP_Pin;
  GPIO_InitStruct.Mode = GPIO_MODE_OUTPUT_PP;
  GPIO_InitStruct.Pull = GPIO_NOPULL;
  GPIO_InitStruct.Speed = GPIO_SPEED_FREQ_HIGH;
  HAL_GPIO_Init(BEEP_GPIO_Port, &GPIO_InitStruct);

  /*Configure GPIO pins : LED0_Pin LED1_Pin */
  GPIO_InitStruct.Pin = LED0_Pin | LED1_Pin;
  GPIO_InitStruct.Mode = GPIO_MODE_OUTPUT_PP;
  GPIO_InitStruct.Pull = GPIO_PULLUP;
  GPIO_InitStruct.Speed = GPIO_SPEED_FREQ_HIGH;
  HAL_GPIO_Init(GPIOF, &GPIO_InitStruct);

  /*Configure GPIO pin : KEY0_Pin */
  GPIO_InitStruct.Pin = KEY0_Pin;
  GPIO_InitStruct.Mode = GPIO_MODE_IT_FALLING;
  GPIO_InitStruct.Pull = GPIO_PULLUP;
  HAL_GPIO_Init(KEY0_GPIO_Port, &GPIO_InitStruct);

  /*Configure GPIO pins : LED2_Pin LED3_Pin */
  GPIO_InitStruct.Pin = LED2_Pin | LED3_Pin;
  GPIO_InitStruct.Mode = GPIO_MODE_OUTPUT_PP;
  GPIO_InitStruct.Pull = GPIO_PULLUP;
  GPIO_InitStruct.Speed = GPIO_SPEED_FREQ_HIGH;
  HAL_GPIO_Init(GPIOE, &GPIO_InitStruct);

  /*Configure GPIO pins : IIC_SOFT_SCL_Pin IIC_SOFT_SDA_Pin */
  GPIO_InitStruct.Pin = IIC_SOFT_SCL_Pin | IIC_SOFT_SDA_Pin;
  GPIO_InitStruct.Mode = GPIO_MODE_OUTPUT_OD;
  GPIO_InitStruct.Pull = GPIO_PULLUP;
  GPIO_InitStruct.Speed = GPIO_SPEED_FREQ_HIGH;
  HAL_GPIO_Init(GPIOC, &GPIO_InitStruct);

  /*Configure GPIO pin : HC05_STATE_Pin */
  GPIO_InitStruct.Pin = HC05_STATE_Pin;
  GPIO_InitStruct.Mode = GPIO_MODE_INPUT;
  GPIO_InitStruct.Pull = GPIO_NOPULL;
  HAL_GPIO_Init(HC05_STATE_GPIO_Port, &GPIO_InitStruct);

  /* EXTI interrupt init*/
  HAL_NVIC_SetPriority(EXTI0_IRQn, 5, 0);
  HAL_NVIC_EnableIRQ(EXTI0_IRQn);

  HAL_NVIC_SetPriority(EXTI2_IRQn, 5, 0);
  HAL_NVIC_EnableIRQ(EXTI2_IRQn);

  HAL_NVIC_SetPriority(EXTI3_IRQn, 5, 0);
  HAL_NVIC_EnableIRQ(EXTI3_IRQn);

  HAL_NVIC_SetPriority(EXTI4_IRQn, 5, 0);
  HAL_NVIC_EnableIRQ(EXTI4_IRQn);

}

void StartDefaultTask(void *argument)
{
  /* USER CODE BEGIN 5 */
  /*
   * defaultTask 由 CubeMX 默认生成，当前业务已经拆分到各专用任务。
   * 这里低频空跑，后续可在 CubeMX 中删除该任务。
   */
  for (;;)
  {
    osDelay(1000);
  }
  /* USER CODE END 5 */
}

void NetWorkTask_Function(void *argument)
{
  /* USER CODE BEGIN NetWorkTask_Function */
  char cloud_msg[BEMFA_MESSAGE_MAX_LENGTH];    // 接收缓冲：从 CloudRxQueue 取出的消息
  char cloud_tx_msg[BEMFA_MESSAGE_MAX_LENGTH]; // 发送缓冲：从 CloudTxQueue 取出的消息
  WifiCfgQueueItem wifi_req;                   // Wi-Fi 配置队列中的项
  uint8_t cloud_connected_before_local = 0;

  for (;;)
  {
    /* 蓝牙配网结果交给网络任务，由网络任务统一操作 ESP8266 */
    if (osMessageQueueGet(WifiCfgQueueHandle, &wifi_req, NULL, 0) == osOK)
    {
      wifi_config = wifi_req.data;

      printf("正在连接 WiFi，名称：%s\r\n", wifi_config.ssid);

      if (ESP01S_RequestWiFi(wifi_config.ssid, wifi_config.password))
      {
        wifi_config_pending = 1;
        printf("Wi-Fi 连接请求已提交\r\n");
      }
      else
      {
        wifi_config_pending = 0;
        BtReply("WIFI FAIL\r\n");
        printf("Wi-Fi 配置不合法，未提交连接请求\r\n");
      }
    }
    /* 处理 ESP8266 连接结果 ，根据结果更新 at24C02 中的 Wi-Fi 配置状态 */
    if (ESP01S_TakeWiFiResult(&wifi_result))
    {
      if (wifi_result)
      {
        BtReply("WIFI OK\r\n");
        printf("WiFi 连接成功\r\n");

        if (wifi_config_pending)
        {
          if (WifiStorage_Save(&wifi_config))
          {
            printf("Wi-Fi 配置保存成功\r\n");
          }
          else
          {
            printf("Wi-Fi 配置保存失败\r\n");
          }

          wifi_config_pending = 0;
        }
      }
      else if (wifi_config_pending)
      {
        BtReply("WIFI FAIL\r\n");
        printf("WiFi 连接失败，保留原来的 EEPROM 配置\r\n");
        wifi_config_pending = 0;
      }
    }
    /* 推进 ESP8266 状态机 */
    ESP01S_Service();

    if (ESP01S_IsWiFiConnected())
    {
      if (!BEMFA_IsConnected())
      {
        BEMFA_RequestConnect();
      }
      /* 推进巴法云状态机 */
      BEMFA_Service();
    }
    else
    {
      BEMFA_OnWiFiDisconnected();
    }
    if (BEMFA_IsConnected() && !cloud_connected_before_local)
    {
      cloud_connected_before_local = 1;
      printf("巴法云连接成功，主题：%s\r\n", BEMFA_TOPIC);
    }

    if (!BEMFA_IsConnected())
    {
      cloud_connected_before_local = 0;
    }

    /* 发送心跳包 */
    if (osEventFlagsGet(NetEventFlagsHandle) & NET_EVT_HEARTBEAT)
    {
      osEventFlagsClear(NetEventFlagsHandle, NET_EVT_HEARTBEAT);

      if (BEMFA_IsConnected())
      {
        BEMFA_SendHeartbeat();
      }
    }

    /* 只有网络任务可以真正调用 BEMFA_Publish()，避免多个任务抢巴法云状态机 */
    if (BEMFA_IsConnected())
    {
      if (osMessageQueueGet(CloudTxQueueHandle, cloud_tx_msg, NULL, 0) == osOK)
      {
        if (BEMFA_Publish(cloud_tx_msg) == 0)
        {
          printf("云端发送失败: %s\r\n", cloud_tx_msg);
        }
      }
    }
    /* 读取巴法云状态机发送的消息 */
    if (BEMFA_ReadMessage(cloud_msg, sizeof(cloud_msg)))
    {
      osMessageQueuePut(CloudRxQueueHandle, cloud_msg, 0, 0);
    }

    osDelay(5);
  }
  /* USER CODE END NetWorkTask_Function */
}

void HeartBeatTask_Function(void *argument)
{
  /* USER CODE BEGIN HeartBeatTask_Function */
  for (;;)
  {
    osDelay(30000);
    osEventFlagsSet(NetEventFlagsHandle, NET_EVT_HEARTBEAT);
  }
  /* USER CODE END HeartBeatTask_Function */
}

void BluetoothTask_Function(void *argument)
{
  /* USER CODE BEGIN BluetoothTask_Function */
  char rx_line[128]; // 蓝牙接收到的一行数据
  char tx_msg[64];   // 蓝牙发送的一行数据

  for (;;)
  {
    /* 发送其他任务提交的蓝牙回复 */
    while (osMessageQueueGet(BtTxQueueHandle, tx_msg, NULL, 0) == osOK)
    {
      HC05_SendString(tx_msg);
    }

    /* 读取 HC-05 已经接收完成的一整行 */
    if (HC05_ReadLine(rx_line, sizeof(rx_line)))
    {
      if (osMessageQueuePut(BtRxQueueHandle, rx_line, 0, 0) != osOK)
      {
        printf("蓝牙接收队列已满，丢弃: %s\r\n", rx_line);
      }
    }

    osDelay(5);
  }
  /* USER CODE END BluetoothTask_Function */
}

void UITask_Function(void *argument)
{
  /* USER CODE BEGIN UITask_Function */
  uint8_t last_ui_terminal_mode = ui_terminal_mode;
  uint8_t current_mode = 0;
  uint8_t current_armed = 0;
  uint8_t current_alarm = 0;
  uint8_t current_light = 0;

  for (;;)
  {
    /* 蓝牙连接状态来自 HC05 STATE 引脚：连接时为高电平 */
    uint8_t bt_connected =
        (HAL_GPIO_ReadPin(HC05_STATE_GPIO_Port, HC05_STATE_Pin) == GPIO_PIN_SET)
            ? 1u
            : 0u;

    UI_Preview_SetBt(bt_connected);
    UI_Terminal_SetBt(bt_connected);

    /*
     * 共享状态先复制到局部变量，避免 OLED 刷新过程中长时间占用 StateMutex。
     */
    if (osMutexAcquire(StateMutexHandle, osWaitForever) == osOK)
    {
      current_mode = ui_terminal_mode;
      current_armed = cloud_armed;
      current_alarm = local_alarm;
      current_light = (light_value <= reference_value) ? 1u : 0u;
      osMutexRelease(StateMutexHandle);
    }

    UI_Preview_SetWifi(ESP01S_IsWiFiConnected());
    UI_Preview_SetCloud(BEMFA_IsConnected());
    UI_Preview_SetArmed(current_armed);
    UI_Preview_SetAlarm(current_alarm);
    UI_Preview_SetLight(current_light);

    UI_Terminal_SetWifi(ESP01S_IsWiFiConnected());
    UI_Terminal_SetCloud(BEMFA_IsConnected());
    UI_Terminal_SetArmed(current_armed);
    UI_Terminal_SetLight(current_light);

    /*
     * OLED 初始化和刷新都放在 UITask 中，
     * 避免多个任务同时操作软件 I2C 导致卡死。
     */
    if (current_mode != last_ui_terminal_mode)
    {
      last_ui_terminal_mode = current_mode;

      if (osMutexAcquire(DebugMutexHandle, osWaitForever) == osOK)
      {
        if (current_mode == 0)
        {
          UI_Preview_Init();
        }
        else
        {
          UI_Terminal_Init();
        }
        osMutexRelease(DebugMutexHandle);
      }

      if (current_mode == 0)
      {
        printf("已切换到前台表情界面\r\n");
      }
      else
      {
        printf("已切换到后台终端界面\r\n");
      }
    }

    if (osMutexAcquire(DebugMutexHandle, osWaitForever) == osOK)
    {
      if (current_mode == 0)
      {
        UI_Preview_Service();
      }
      else
      {
        UI_Terminal_Service();
      }

      osMutexRelease(DebugMutexHandle);
    }

    osDelay(5);
  }
  /* USER CODE END UITask_Function */
}

void KeyHandleTask_Function(void *argument)
{
  /* USER CODE BEGIN KeyHandleTask_Function */
  uint32_t flags;
  uint8_t armed_after;
  uint8_t alarm_active;
  uint8_t led1_after;
  uint8_t ui_mode_after;

  for (;;)
  {
    flags = osEventFlagsWait(
        KeyEventFlagsHandle,
        KEY_EVT_KEY0 | KEY_EVT_KEY1 | KEY_EVT_KEY2 | KEY_EVT_KEY3,
        osFlagsWaitAny,
        osWaitForever);

    if ((flags & KEY_EVT_KEY0) != 0)
    {
      armed_after = 0;

      if (osMutexAcquire(StateMutexHandle, osWaitForever) == osOK)
      {
        if (cloud_armed == 0)
        {
          cloud_armed = 1;
          armed_after = 1;
        }
        else
        {
          cloud_armed = 0;
          local_alarm = 0;
          alarm_muted = 0;
          beep_on = 0;
          armed_after = 0;
        }

        osMutexRelease(StateMutexHandle);
      }

      if (armed_after)
      {
        SERVO_SetMode(SERVO_MODE_SCAN);
        printf("KEY0：设备已布防\r\n");
      }
      else
      {
        LED_Off(LED_ID_0);
        BEEP_Off();
        SERVO_SetMode(SERVO_MODE_DISARM);

        printf("KEY0：设备已撤防\r\n");
      }
    }

    if ((flags & KEY_EVT_KEY1) != 0)
    {
      alarm_active = 0;

      if (osMutexAcquire(StateMutexHandle, osWaitForever) == osOK)
      {
        if (local_alarm)
        {
          alarm_muted = 1;
          beep_on = 0;
          alarm_active = 1;
        }
        osMutexRelease(StateMutexHandle);
      }

      if (alarm_active)
      {
        BEEP_Off();
        printf("KEY1：报警已消音，报警状态保持\r\n");
      }
      else
      {
        printf("KEY1：当前没有报警\r\n");
      }
    }

    if ((flags & KEY_EVT_KEY2) != 0)
    {
      led1_after = 0;

      if (osMutexAcquire(StateMutexHandle, osWaitForever) == osOK)
      {
        led1_on = !led1_on;
        led1_after = led1_on;
        osMutexRelease(StateMutexHandle);
      }

      if (led1_after)
      {
        LED_On(LED_ID_1);
        printf("KEY2：LED1 已打开\r\n");
      }
      else
      {
        LED_Off(LED_ID_1);
        printf("KEY2：LED1 已关闭\r\n");
      }
    }

    if ((flags & KEY_EVT_KEY3) != 0)
    {
      ui_mode_after = 0;

      if (osMutexAcquire(StateMutexHandle, osWaitForever) == osOK)
      {
        ui_terminal_mode = (ui_terminal_mode == 0) ? 1 : 0;
        ui_mode_after = ui_terminal_mode;
        osMutexRelease(StateMutexHandle);
      }

      if (ui_mode_after == 0)
      {
        printf("KEY3：请求切换到前台表情界面\r\n");
      }
      else
      {
        printf("KEY3：请求切换到后台终端界面\r\n");
      }
    }
  }
  /* USER CODE END KeyHandleTask_Function */
}

void ADCHandleTask_Function(void *argument)
{
  /* USER CODE BEGIN ADCHandleTask_Function */

  uint16_t new_light_value;
  uint16_t new_reference_value;

  uint8_t light_is_dark;
  uint8_t alarm_started;
  uint8_t alarm_cleared;
  uint8_t armed_now;

  char alarm_message[BEMFA_MESSAGE_MAX_LENGTH];

  for (;;)
  {
    alarm_started = 0;
    alarm_cleared = 0;
    armed_now = 0;
    light_is_dark = 0;

    /* 读取光敏和电位器 */
    new_light_value = ADC_ReadLight();
    new_reference_value = ADC_ReadReference();

    /*
     * 只有ADC变化超过阈值时才打印。
     * 如果你希望阈值为50，请确认宏定义为：
     * #define ADC_PRINT_CHANGE_THRESHOLD 50U
     */
    adc_value_changed = adc_print_first_time;

    if ((new_light_value > last_print_light_value &&
         new_light_value - last_print_light_value >
             ADC_PRINT_CHANGE_THRESHOLD) ||
        (last_print_light_value > new_light_value &&
         last_print_light_value - new_light_value >
             ADC_PRINT_CHANGE_THRESHOLD) ||
        (new_reference_value > last_print_reference_value &&
         new_reference_value - last_print_reference_value >
             ADC_PRINT_CHANGE_THRESHOLD) ||
        (last_print_reference_value > new_reference_value &&
         last_print_reference_value - new_reference_value >
             ADC_PRINT_CHANGE_THRESHOLD))
    {
      adc_value_changed = 1;
    }

    if (adc_value_changed)
    {
      last_print_light_value = new_light_value;
      last_print_reference_value = new_reference_value;
      adc_print_first_time = 0;

      printf("光敏值=%u, 阈值=%u\r\n",
             new_light_value,
             new_reference_value);
    }

    /*
     * StateMutex只保护共享状态变量。
     * ADC读取和硬件控制不放在互斥量内部。
     */
    if (osMutexAcquire(StateMutexHandle, osWaitForever) == osOK)
    {
      light_value = new_light_value;
      reference_value = new_reference_value;

      armed_now = cloud_armed;
      light_is_dark =
          (new_light_value > new_reference_value) ? 1U : 0U;

      if (light_is_dark)
      {
        /*
         * 只在布防且当前没有报警时触发一次。
         */
        if (cloud_armed && local_alarm == 0)
        {
          local_alarm = 1;
          alarm_muted = 0;
          beep_on = 1;
          alarm_started = 1;
        }
      }
      else
      {
        /*
         * 光线恢复正常后解除报警。
         */
        if (local_alarm)
        {
          local_alarm = 0;
          alarm_muted = 0;
          beep_on = 0;
          alarm_cleared = 1;
        }
      }

      osMutexRelease(StateMutexHandle);
    }

    if (adc_value_changed)
    {
      if (light_is_dark)
      {
        printf("当前光线较暗\r\n");
      }
      else
      {
        printf("当前光线正常\r\n");
      }
    }

    if (alarm_started)
    {
      LED_On(LED_ID_0);
      BEEP_On();
      SERVO_SetMode(SERVO_MODE_ALARM);

      printf("光线过暗，触发报警\r\n");

      /*
       * 报警消息放入云端发送队列，
       * 由NetWorkTask统一调用BEMFA_Publish()。
       */
      snprintf(alarm_message,
               sizeof(alarm_message),
               "ALARM:LOW_LIGHT");

      if (osMessageQueuePut(
              CloudTxQueueHandle,
              alarm_message,
              0,
              0) != osOK)
      {
        printf("报警消息进入云端队列失败\r\n");
      }
      else
      {
        printf("低光报警已进入云端发送队列\r\n");
      }
    }

    if (alarm_cleared)
    {
      LED_Off(LED_ID_0);
      BEEP_Off();

      if (armed_now)
      {
        SERVO_SetMode(SERVO_MODE_SCAN);
      }
      else
      {
        SERVO_SetMode(SERVO_MODE_DISARM);
      }

      printf("光线恢复，解除报警\r\n");
    }

    /*
     * 每500 ms读取一次ADC。
     */
    osDelay(500);
  }

  /* USER CODE END ADCHandleTask_Function */
}

void ServoHandleTask_Function(void *argument)
{
  /* USER CODE BEGIN ServoHandleTask_Function */

  for (;;)
  {
    /*
     * SERVO_Service() 内部会根据 HAL_GetTick()
     * 判断是否到了 25 ms 的扫描时间。
     */
    SERVO_Service();

    /*
     * 任务每 5 ms 检查一次，
     * 足够满足舵机每 25 ms 改变一次角度的要求。
     */
    osDelay(5);
  }

  /* USER CODE END ServoHandleTask_Function */
}

void HandleBtMsgTask_Function(void *argument)
{
  /* USER CODE BEGIN HandleBtMsgTask_Function */
  char rx_line[128];
  CloudCmd_Face face;
  WifiCfgQueueItem wifi_item;
  uint8_t allow_face;

  for (;;)
  {
    if (osMessageQueueGet(BtRxQueueHandle, rx_line, NULL, osWaitForever) == osOK)
    {
      if (CloudCmd_ParseFace(rx_line, &face))
      {
        allow_face = 0;

        if (osMutexAcquire(StateMutexHandle, osWaitForever) == osOK)
        {
          allow_face = ((cloud_armed == 0) && (local_alarm == 0)) ? 1u : 0u;
          osMutexRelease(StateMutexHandle);
        }

        if (allow_face)
        {
          UI_Preview_SetManualFace((UI_Face)face);
          printf("蓝牙表情命令: %s\r\n", rx_line);
        }
        else
        {
          printf("表情命令仅在撤防且无报警时有效\r\n");
        }
      }
      else if (BtConfig_Parse(rx_line, &wifi_item.data))
      {
        BtReply("WIFI CONNECTING\r\n");

        if (osMessageQueuePut(WifiCfgQueueHandle, &wifi_item, 0, 0) == osOK)
        {
          printf("蓝牙收到 Wi-Fi 配置: %s\r\n", wifi_item.data.ssid);
        }
        else
        {
          BtReply("WIFI FAIL\r\n");
          printf("Wi-Fi 配置队列已满\r\n");
        }
      }
      else
      {
        BtReply("WIFI FAIL\r\n");
        printf("蓝牙消息格式错误: %s\r\n", rx_line);
      }
    }
  }
  /* USER CODE END HandleBtMsgTask_Function */
}

void HandleCloudMsgTask_Function(void *argument)
{
  /* USER CODE BEGIN HandleCloudMsgTask_Function */
  char rx_msg[BEMFA_MESSAGE_MAX_LENGTH];
  CloudCmd_Data cmd;
  uint8_t state_armed;
  uint8_t state_alarm;
  uint8_t state_led1;
  uint8_t state_beep;

  for (;;)
  {
    if (osMessageQueueGet(CloudRxQueueHandle, rx_msg, NULL, osWaitForever) == osOK)
    {
      printf("巴法云下发消息: %s\r\n", rx_msg);

      if (CloudCmd_Parse(rx_msg, &cmd))
      {
        if (cmd.type == CLOUD_CMD_ARM)
        {
          if (osMutexAcquire(StateMutexHandle, osWaitForever) == osOK)
          {
            cloud_armed = 1;
            osMutexRelease(StateMutexHandle);
          }

          SERVO_SetMode(SERVO_MODE_SCAN);
          printf("设备已布防\r\n");
          CloudAck("本地:ARM:OK");
        }
        else if (cmd.type == CLOUD_CMD_DISARM)
        {
          if (osMutexAcquire(StateMutexHandle, osWaitForever) == osOK)
          {
            cloud_armed = 0;
            local_alarm = 0;
            alarm_muted = 0;
            beep_on = 0;
            osMutexRelease(StateMutexHandle);
          }

          LED_Off(LED_ID_0);
          BEEP_Off();
          SERVO_SetMode(SERVO_MODE_DISARM);

          printf("设备已撤防\r\n");
          CloudAck("本地:DISARM:OK");
        }
        else if (cmd.type == CLOUD_CMD_LED_ON)
        {
          if (osMutexAcquire(StateMutexHandle, osWaitForever) == osOK)
          {
            led1_on = 1;
            osMutexRelease(StateMutexHandle);
          }

          LED_On(LED_ID_1);
          printf("LED1 已打开\r\n");
          CloudAck("本地:LED:ON");
        }
        else if (cmd.type == CLOUD_CMD_LED_OFF)
        {
          if (osMutexAcquire(StateMutexHandle, osWaitForever) == osOK)
          {
            led1_on = 0;
            osMutexRelease(StateMutexHandle);
          }

          LED_Off(LED_ID_1);
          printf("LED1 已关闭\r\n");
          CloudAck("本地:LED:OFF");
        }
        else if (cmd.type == CLOUD_CMD_BEEP_ON)
        {
          if (osMutexAcquire(StateMutexHandle, osWaitForever) == osOK)
          {
            beep_on = 1;
            osMutexRelease(StateMutexHandle);
          }

          BEEP_On();
          printf("蜂鸣器已打开\r\n");
          CloudAck("本地:BEEP:ON");
        }
        else if (cmd.type == CLOUD_CMD_BEEP_OFF)
        {
          if (osMutexAcquire(StateMutexHandle, osWaitForever) == osOK)
          {
            beep_on = 0;
            osMutexRelease(StateMutexHandle);
          }

          BEEP_Off();
          printf("蜂鸣器已关闭\r\n");
          CloudAck("本地:BEEP:OFF");
        }
        else if (cmd.type == CLOUD_CMD_QUERY)
        {
          state_armed = 0;
          state_alarm = 0;
          state_led1 = 0;
          state_beep = 0;

          if (osMutexAcquire(StateMutexHandle, osWaitForever) == osOK)
          {
            state_armed = cloud_armed;
            state_alarm = local_alarm;
            state_led1 = led1_on;
            state_beep = beep_on;
            osMutexRelease(StateMutexHandle);
          }

          snprintf(ack_message, sizeof(ack_message),
                   "STATE:ARM=%u,ALARM=%u,LED=%u,BEEP=%u",
                   (unsigned int)state_armed,
                   (unsigned int)state_alarm,
                   (unsigned int)state_led1,
                   (unsigned int)state_beep);

          printf("当前状态：%s\r\n", ack_message);
          CloudAck(ack_message);
        }
      }
      else
      {
        printf("巴法云下发命令解析失败\r\n");
      }
    }
  }
  /* USER CODE END HandleCloudMsgTask_Function */
}

void Error_Handler(void)
{
  __disable_irq();
  while (1)
  {
  }
}
